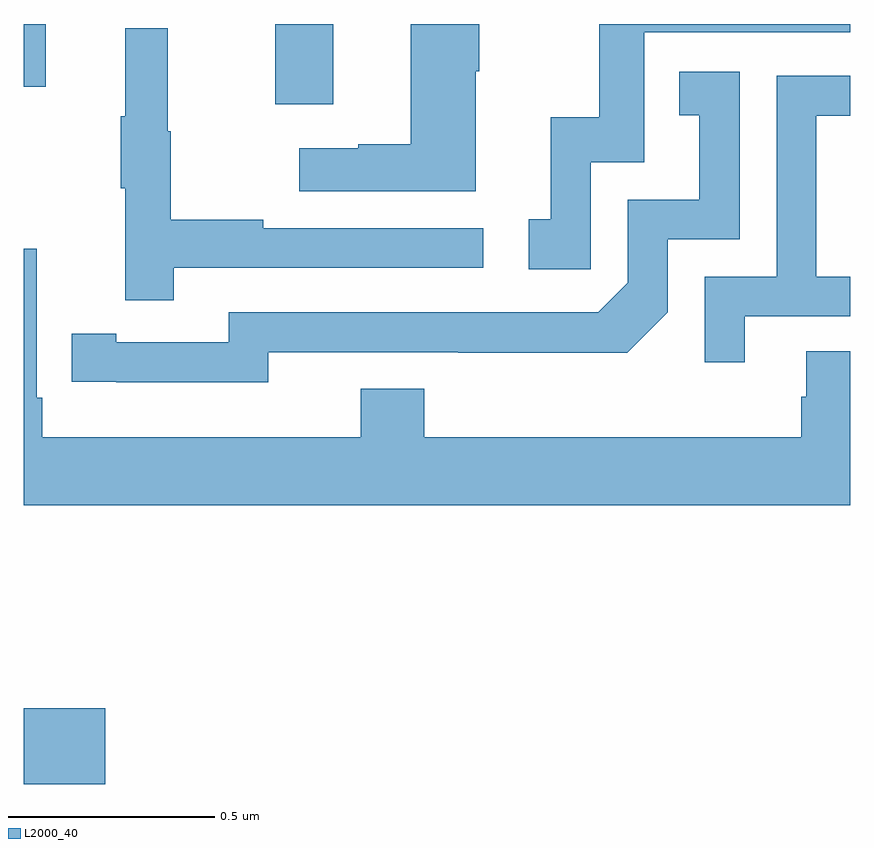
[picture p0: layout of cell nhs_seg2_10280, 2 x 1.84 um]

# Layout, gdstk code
import gdstk
lib = gdstk.Library(unit=1e-6, precision=1e-09)
def R(c, l, rs):  # rectangles x0, y0, x1, y1
    for r in rs: c.add(gdstk.rectangle(r[:2], r[2:], *l))
def P(c, l, *ps):  # polygons
    for p in ps: c.add(gdstk.Polygon(p, *l))
L2000_40 = (2000, 40)

nhs_seg2_10280 = lib.new_cell('nhs_seg2_10280')
R(nhs_seg2_10280, L2000_40, [(239,646.961,239.197,647.144), (239.609,648.606,239.749,648.8), (239,648.648,239.053,648.8)])
P(nhs_seg2_10280, L2000_40, [(240.372,648.465),(240.501,648.465),(240.501,648.78),(241,648.78),(241,648.8),(240.393,648.8),(240.393,648.574),(240.275,648.574),(240.275,648.327),(240.222,648.327),(240.222,648.207),(240.372,648.207)],
  [(240.094,648.686),(240.102,648.686),(240.102,648.799),(239.936,648.799),(239.936,648.509),(239.81,648.509),(239.81,648.499),(239.667,648.499),(239.667,648.395),(240.094,648.395)],
  [(239.363,648.21),(240.112,648.21),(240.112,648.306),(239.579,648.306),(239.579,648.326),(239.356,648.326),(239.356,648.54),(239.348,648.54),(239.348,648.79),(239.246,648.79),(239.246,648.577),(239.235,648.577),(239.235,648.403),(239.246,648.403),(239.246,648.132),(239.363,648.132)],
  [(239.592,648.006),(240.052,648.006),(240.052,648.005),(240.46,648.005),(240.558,648.102),(240.558,648.279),(240.732,648.279),(240.732,648.685),(240.586,648.685),(240.586,648.579),(240.635,648.579),(240.635,648.375),(240.462,648.375),(240.462,648.174),(240.39,648.102),(239.496,648.102),(239.496,648.03),(239.224,648.03),(239.224,648.05),(239.116,648.05),(239.116,647.934),(239.224,647.934),(239.224,647.933),(239.592,647.933)],
  [(240.745,648.093),(241,648.093),(241,648.189),(240.918,648.189),(240.918,648.578),(241,648.578),(241,648.675),(240.822,648.675),(240.822,648.189),(240.648,648.189),(240.648,647.982),(240.745,647.982)],
  [(241,648.008),(240.893,648.008),(240.893,647.898),(240.881,647.898),(240.881,647.8),(239.969,647.8),(239.969,647.917),(239.816,647.917),(239.816,647.8),(239.045,647.8),(239.045,647.896),(239.031,647.896),(239.031,648.256),(239,648.256),(239,647.636),(241,647.636)])

lib.write_gds('nhs_seg2_10280.gds')
